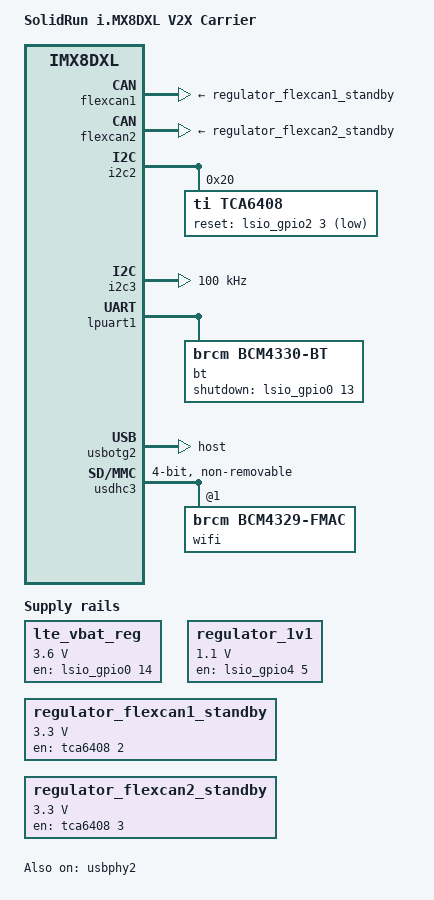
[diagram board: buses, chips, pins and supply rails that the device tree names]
// SPDX-License-Identifier: GPL-2.0+
/*
 * Copyright 2019~2020 NXP
 * Copyright 2022 Josua Mayer <josua@solid-run.com>
 */

/dts-v1/;

#include "imx8dxl.dtsi"
#include "imx8dxl-sr-som.dtsi"

/ {
	model = "SolidRun i.MX8DXL V2X Carrier";
	compatible = "fsl,imx8dxl-sr-som", "fsl,imx8dxl";

	lte_vbat_reg: regulator-lte-vbat {
		compatible = "regulator-fixed";
		pinctrl-names = "default";
		pinctrl-0 = <&pinctrl_lte_vbat>;
		regulator-name = "lte-vbat";
		regulator-min-microvolt = <3600000>;
		regulator-max-microvolt = <3600000>;
		gpio = <&lsio_gpio0 14 GPIO_ACTIVE_HIGH>;
		enable-active-high;
		regulator-always-on;
	};

	regulator_1v1: regulator-1v1 {
		compatible = "regulator-fixed";
		pinctrl-names = "default";
		pinctrl-0 = <&pinctrl_reg_1v1>;
		regulator-name = "1v1";
		regulator-min-microvolt = <1100000>;
		regulator-max-microvolt = <1100000>;
		gpio = <&lsio_gpio4 5 GPIO_ACTIVE_HIGH>;
		enable-active-high;
		regulator-always-on;
	};

	regulator_flexcan1_standby: regulator-flexcan1-standby {
		compatible = "regulator-fixed";
		regulator-name = "flexcan1-standby";
		regulator-min-microvolt = <3300000>;
		regulator-max-microvolt = <3300000>;
		gpio = <&tca6408 2 GPIO_ACTIVE_HIGH>;
		enable-active-high;
	};

	regulator_flexcan2_standby: regulator-flexcan2-standby {
		compatible = "regulator-fixed";
		regulator-name = "flexcan2-standby";
		regulator-min-microvolt = <3300000>;
		regulator-max-microvolt = <3300000>;
		gpio = <&tca6408 3 GPIO_ACTIVE_HIGH>;
		enable-active-high;
	};
};

&flexcan1 {
	pinctrl-names = "default";
	pinctrl-0 = <&pinctrl_flexcan1>;
	xceiver-supply = <&regulator_flexcan1_standby>;
	status = "okay";

	can-transceiver {
		/* TJA1048 */
		max-bitrate = <5000000>;
	};
};

&flexcan2 {
	pinctrl-names = "default";
	pinctrl-0 = <&pinctrl_flexcan2>;
	xceiver-supply = <&regulator_flexcan2_standby>;
	status = "okay";

	can-transceiver {
		/* TJA1048 */
		max-bitrate = <5000000>;
	};
};

&iomuxc {
		pinctrl_flexcan1: flexcan1grp {
			fsl,pins = <
				IMX8DXL_FLEXCAN0_TX_ADMA_FLEXCAN0_TX	0x00000021
				IMX8DXL_FLEXCAN0_RX_ADMA_FLEXCAN0_RX	0x00000021
			>;
		};

		pinctrl_flexcan2: flexcan2grp {
			fsl,pins = <
				IMX8DXL_FLEXCAN1_TX_ADMA_FLEXCAN1_TX	0x00000021
				IMX8DXL_FLEXCAN1_RX_ADMA_FLEXCAN1_RX	0x00000021
			>;
		};

		pinctrl_i2c2_gpio: i2c2gpiogrp {
			fsl,pins = <
				/* gpio-expander reset: io without pull-up */
				IMX8DXL_SCU_GPIO0_00_LSIO_GPIO2_IO03		0x0000061 /* some reason this fails in pinctrl driver */

				/* gpio-expander interrupt: io without pull-up */
				/* not usable, because this pin does not support lsio gpio mode :( */
				IMX8DXL_SCU_GPIO0_01_SCU_GPIO0_IO01		0x0000061
			>;
		};

		pinctrl_i2c3: i2c3grp {
			fsl,pins = <
				IMX8DXL_SPI1_CS0_ADMA_I2C3_SDA		0x06000021
				IMX8DXL_SPI1_SDI_ADMA_I2C3_SCL		0x06000021
			>;
		};

		pinctrl_lpuart1: lpuart1grp {
			fsl,pins = <
				IMX8DXL_UART1_RX_ADMA_UART1_RX			0x06000020
				IMX8DXL_UART1_TX_ADMA_UART1_TX			0x06000020
				IMX8DXL_UART1_CTS_B_ADMA_UART1_CTS_B	0x06000020
				IMX8DXL_UART1_RTS_B_ADMA_UART1_RTS_B	0x06000020
			>;
		};

		pinctrl_strange: strangegrp {
			fsl,pins = <
				/* RST_N SJA1110AEL */
				IMX8DXL_USB_SS3_TC0_LSIO_GPIO4_IO03		0x00000021

				/* RST_CORE_N SJA1110AEL */
				/*IMX8DXL_USB_SS3_TC1_LSIO_GPIO4_IO04			0x00000021*/
				IMX8DXL_USB_SS3_TC1_CONN_USB_OTG2_PWR	0x00000021
			>;
		};

		pinctrl_lte: ltegrp {
			fsl,pins = <
				/* modem RESET_N: io open drain drive 2mA */
				IMX8DXL_ADC_IN3_LSIO_GPIO1_IO11	0x2000061

				/* modem PWRKEY: io open drain drive 2mA */
				IMX8DXL_ADC_IN2_LSIO_GPIO1_IO12	0x2000061
			>;
		};

		pinctrl_lte_vbat: ltevbatgrp {
			fsl,pins = <
				/* RF_PWR: io without pull-up */
				IMX8DXL_SPI3_SDO_LSIO_GPIO0_IO14	0x0000061
			>;
		};

		pinctrl_usdhc3: usdhc3grp {
			fsl,pins = <
				IMX8DXL_ENET0_RGMII_TXC_CONN_USDHC2_CLK			0x06000040
				IMX8DXL_ENET0_RGMII_TX_CTL_CONN_USDHC2_CMD		0x00000021
				IMX8DXL_ENET0_RGMII_TXD0_CONN_USDHC2_DATA0		0x00000021
				IMX8DXL_ENET0_RGMII_TXD1_CONN_USDHC2_DATA1		0x00000021
				IMX8DXL_ENET0_RGMII_TXD2_CONN_USDHC2_DATA2		0x00000021
				IMX8DXL_ENET0_RGMII_TXD3_CONN_USDHC2_DATA3		0x00000021
			>;
		};

		pinctrl_usdhc3_100mhz: usdhc3grp100mhz {
			fsl,pins = <
				IMX8DXL_ENET0_RGMII_TXC_CONN_USDHC2_CLK			0x06000040
				IMX8DXL_ENET0_RGMII_TX_CTL_CONN_USDHC2_CMD		0x00000021
				IMX8DXL_ENET0_RGMII_TXD0_CONN_USDHC2_DATA0		0x00000021
				IMX8DXL_ENET0_RGMII_TXD1_CONN_USDHC2_DATA1		0x00000021
				IMX8DXL_ENET0_RGMII_TXD2_CONN_USDHC2_DATA2		0x00000021
				IMX8DXL_ENET0_RGMII_TXD3_CONN_USDHC2_DATA3		0x00000021
			>;
		};

		pinctrl_usdhc3_200mhz: usdhc3grp200mhz {
			fsl,pins = <
				IMX8DXL_ENET0_RGMII_TXC_CONN_USDHC2_CLK			0x06000040
				IMX8DXL_ENET0_RGMII_TX_CTL_CONN_USDHC2_CMD		0x00000021
				IMX8DXL_ENET0_RGMII_TXD0_CONN_USDHC2_DATA0		0x00000021
				IMX8DXL_ENET0_RGMII_TXD1_CONN_USDHC2_DATA1		0x00000021
				IMX8DXL_ENET0_RGMII_TXD2_CONN_USDHC2_DATA2		0x00000021
				IMX8DXL_ENET0_RGMII_TXD3_CONN_USDHC2_DATA3		0x00000021
			>;
		};

		pinctrl_wifi: wifigrp {
			fsl,pins = <
				/* wl_reg_on: SPI CS with pull-up, to force high */
				/* should be: io without pull-up (WiFi module has internal pull-down) */
				IMX8DXL_SPI3_CS1_ADMA_SPI3_CS1		0x0000021
			>;
		};

		pinctrl_bluetooth: bluetoothgrp {
			fsl,pins = <
				/* bt_reg_on: io without pull-up (BT module has internal pull-down) */
				IMX8DXL_SPI3_SCK_LSIO_GPIO0_IO13	0x0000061
			>;
		};

		pinctrl_reg_1v1: 1v1grp {
			fsl,pins = <
				/* SW_PE USB_OTG1_OC: io without pull-up */
				IMX8DXL_USB_SS3_TC2_LSIO_GPIO4_IO05	0x0000061
			>;
		};
};

/* exposed on J14: SDA(51), SCL(53) */
&i2c2 {
	/* MFS5600AMMA7ES @ 18 */

	/* TCA6408ARGTR */
	tca6408: gpio@20 {
		compatible = "ti,tca6408";
		reg = <0x20>;
		gpio-controller;
		#gpio-cells = <2>;
		reset-gpios = <&lsio_gpio2 3 GPIO_ACTIVE_LOW>;
		//interrupt-parent = <&lsio_gpio0>;
        //interrupts = <1 IRQ_TYPE_EDGE_FALLING>; /* re-enable after changing layout */
		pinctrl-names = "default";
		pinctrl-0 = <&pinctrl_i2c2_gpio>;
		gpio-line-names = "DIG_IN1", "DIG_IN2", "CAN_STNB1", "CAN_STNB2", "DIG_OUT1", "DIG_OUT2", "", "";
		/* max 100kHz bus speed */
	};
};

/* exposed on J14: SDA(33), SCL(31) */
&i2c3 {
	#address-cells = <1>;
	#size-cells = <0>;
	clock-frequency = <100000>;
	pinctrl-names = "default";
	pinctrl-0 = <&pinctrl_i2c3>;
	status = "okay";

	/* nothing connected */
};

/* bluetooth */
&lpuart1 {
	pinctrl-names = "default";
	pinctrl-0 = <&pinctrl_lpuart1>, <&pinctrl_bluetooth>;
	status = "okay";
	uart-has-rtscts;

	bt: bluetooth {
		compatible = "brcm,bcm4330-bt";
		max-speed = <4000000>;
		shutdown-gpios = <&lsio_gpio0 13 GPIO_ACTIVE_HIGH>;
	};
};

&lsio_gpio0 {
	status = "okay";
};

&lsio_gpio4 {
	status = "okay";
};

&usbotg2 {
	srp-disable;
	hnp-disable;
	adp-disable;
	power-active-high;
	disable-over-current;
	status = "okay";
	dr_mode = "host";
	pinctrl-names = "default";
	pinctrl-0 = <&pinctrl_lte>;
};

&usbphy2 {
	status = "okay";
};

/* WiFI (Carrier) */
&usdhc3 {
	// verify that REF_CLK_32K is enabled */
    #address-cells = <1>;
    #size-cells = <0>;
	pinctrl-names = "default", "state_100mhz", "state_200mhz";
	pinctrl-0 = <&pinctrl_usdhc3>, <&pinctrl_wifi>;
	pinctrl-1 = <&pinctrl_usdhc3_100mhz>, <&pinctrl_wifi>;
	pinctrl-2 = <&pinctrl_usdhc3_200mhz>, <&pinctrl_wifi>;
	bus-width = <4>;
	no-sd;
	non-removable;
	status = "okay";
	max-frequency = <40000000>;
	fsl,delay-line = <12>;
	keep-power-in-suspend;
	enable-sdio-wakeup;

	/* CYW43455 */
    wifi: cyw43455@1 {
		reg = <1>;
		compatible = "brcm,bcm4329-fmac";
    };
};
